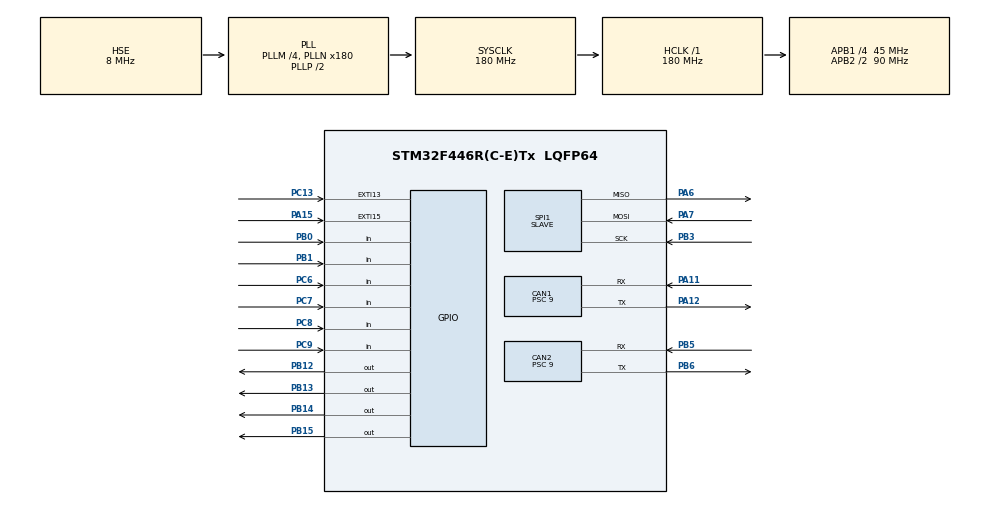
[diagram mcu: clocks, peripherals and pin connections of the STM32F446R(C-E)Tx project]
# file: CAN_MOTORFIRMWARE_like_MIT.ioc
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CAN1.BS1=CAN_BS1_2TQ
CAN1.BS2=CAN_BS2_2TQ
CAN1.CalculateBaudRate=1000000
CAN1.CalculateTimeBit=1000
CAN1.CalculateTimeQuantum=200.0
CAN1.Prescaler=9
CAN2.BS1=CAN_BS1_2TQ
CAN2.BS2=CAN_BS2_2TQ
CAN2.CalculateBaudRate=1000000
CAN2.CalculateTimeBit=1000
CAN2.CalculateTimeQuantum=200.0
CAN2.Prescaler=9
Mcu.Family=STM32F4
Mcu.Name=STM32F446R(C-E)Tx
Mcu.Package=LQFP64
NVIC.CAN1_RX0_IRQn=true\:0\:0\:false\:false\:true\:true\:true\:true
NVIC.CAN2_RX0_IRQn=true\:0\:0\:false\:false\:true\:true\:true\:true
NVIC.CAN2_RX1_IRQn=true\:0\:0\:false\:false\:true\:true\:true\:true
NVIC.EXTI15_10_IRQn=true\:0\:0\:false\:false\:true\:true\:true\:true
NVIC.PriorityGroup=NVIC_PRIORITYGROUP_4
PA11.Mode=CAN_Activate
PA11.Signal=CAN1_RX
PA12.Mode=CAN_Activate
PA12.Signal=CAN1_TX
PA15.GPIO_ModeDefaultEXTI=GPIO_MODE_IT_FALLING
PA15.GPIO_PuPd=GPIO_NOPULL
PA15.Signal=GPXTI15
PA6.Mode=Full_Duplex_Slave
PA6.Signal=SPI1_MISO
PA7.Mode=Full_Duplex_Slave
PA7.Signal=SPI1_MOSI
PB0.Signal=GPIO_Input
PB1.Signal=GPIO_Input
PB12.Signal=GPIO_Output
PB13.Signal=GPIO_Output
PB14.Signal=GPIO_Output
PB15.Signal=GPIO_Output
PB3.Mode=Full_Duplex_Slave
PB3.Signal=SPI1_SCK
PB5.Mode=CAN_Activate
PB5.Signal=CAN2_RX
PB6.Mode=CAN_Activate
PB6.Signal=CAN2_TX
PC13.Signal=GPXTI13
PC6.GPIO_PuPd=GPIO_PULLDOWN
PC6.Signal=GPIO_Input
PC7.GPIO_PuPd=GPIO_PULLDOWN
PC7.Signal=GPIO_Input
PC8.GPIO_PuPd=GPIO_PULLDOWN
PC8.Signal=GPIO_Input
PC9.GPIO_PuPd=GPIO_PULLDOWN
PC9.Signal=GPIO_Input
PH0-OSC_IN.Mode=HSE-External-Oscillator
PH0-OSC_IN.Signal=RCC_OSC_IN
PH1-OSC_OUT.Mode=HSE-External-Oscillator
PH1-OSC_OUT.Signal=RCC_OSC_OUT
ProjectManager.HeapSize=0x200
ProjectManager.StackSize=0x400
ProjectManager.TargetToolchain=STM32CubeIDE
RCC.AHBFreq_Value=180000000
RCC.APB1CLKDivider=RCC_HCLK_DIV4
RCC.APB1Freq_Value=45000000
RCC.APB1TimFreq_Value=90000000
RCC.APB2CLKDivider=RCC_HCLK_DIV2
RCC.APB2Freq_Value=90000000
RCC.APB2TimFreq_Value=180000000
RCC.CortexFreq_Value=180000000
RCC.HCLKFreq_Value=180000000
RCC.HSE_VALUE=8000000
RCC.PLLM=4
RCC.PLLN=180
RCC.PLLSourceVirtual=RCC_PLLSOURCE_HSE
RCC.SYSCLKFreq_VALUE=180000000
RCC.SYSCLKSource=RCC_SYSCLKSOURCE_PLLCLK
RCC.USBFreq_Value=180000000
RCC.VCOOutputFreq_Value=360000000
SPI1.DataSize=SPI_DATASIZE_16BIT
SPI1.Direction=SPI_DIRECTION_2LINES
SPI1.Mode=SPI_MODE_SLAVE
SPI1.VirtualType=VM_SLAVE
TIM1.Period=0xFFFF-1
TIM1.Prescaler=180
TIM8.Prescaler=180
VP_TIM1_VS_ClockSourceINT.Mode=Internal
VP_TIM8_VS_ClockSourceINT.Mode=Internal
board=custom

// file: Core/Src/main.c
/**
  ******************************************************************************
  * @file           : main.c
  * @brief          : Lower-level-Controller firmware
  * Last Updated by : Vishnudev Kurumbaparambil
  * Datum			: 10.02.2025
  * Base Author		: Dave Mangatter
  * Description		: This is the lower level program that runs in STM. This handles the data exchange between the UP board
  * 				  and Robot Leg motors. It contains a SPI and CAN part.
  * License 		: This software component is licensed by ST under BSD 3-Clause license
  ******************************************************************************
  */

/***********************************************************************************************************
*										I N C L U D E S
************************************************************************************************************/
#include "main.h"
#include "stdio.h"
#include "math.h"
#include <stdbool.h>

/***********************************************************************************************************
*										M A C R O S
************************************************************************************************************/

/****************************    RANGES AND LIMITS      **********************/
// Motor range control
#define MOTOR_P_MIN -12.5f
#define MOTOR_P_MAX  12.5f
#define MOTOR_V_MIN -50.0f
#define MOTOR_V_MAX  50.0f
#define MOTOR_T_MIN -65.0f
#define MOTOR_T_MAX  65.0f
#define MOTOR_KP_MIN 0.0f
#define MOTOR_KP_MAX 500.0f
#define MOTOR_KD_MIN 0.0f
#define MOTOR_KD_MAX 5.0f

// Max torque that can be requested from the motor
#define TRQ_REQ_MAX 1.5f

// STM limits for P V T Kd Kp
#define P_MIN -12.5f
#define P_MAX  12.5f
#define V_MIN -26.0f
#define V_MAX  26.0f
#define T_MIN -TRQ_REQ_MAX
#define T_MAX  TRQ_REQ_MAX
#define KP_MIN 0.0f
#define KP_MAX 500.0f
#define KD_MIN 0.0f
#define KD_MAX 5.0f

/// Joint Soft Stops
#define AB_LIM_P 	 1.5708f 	//90°
#define AB_LIM_N 	-1.5708f 	//-90°
#define HIP_LIM_P 	 2.0944f 	//120°
#define HIP_LIM_N 	-2.0944f 	//120°
#define KNEE_LIM_P	 4.01426f 		//-230°
#define KNEE_LIM_N 	-4.01426f  //-0.1f	//5.7° //todo proper limits, consider direction change
#define KP_SOFTSTOP  100.0f
#define KD_SOFTSTOP  0.4f

/****************************    HANDLING DEVIATIONS	**********************/
#define KNEE_GEARRATIO 1.5 //1.25 //todo for testing

/*
 *  STM 2 on Right/Front A[0]A[1]  a[0]a[1]  FR FL
 *  STM 1 on Left /Rear  A[2]A[3]  a[0]a[1]  RR RL
 */

#ifdef STM2_FRONT
	const int ab_mitdirection[2]    = { 1,  1};
	const int hip_mitdirection[2] 	= { 1,  1};
	const int knee_mitdirection[2] 	= { 1,  1};
#endif

#ifdef STM1_BACK
    const int ab_mitdirection[2]    = { 1,  1};
    const int hip_mitdirection[2] 	= { 1,  1};
    const int knee_mitdirection[2] 	= { 1,  1};
#endif

/****************************    DRIVER AND INTERFACES	**********************/
// length of receive/transmit buffers
#define RX_LEN 66
#define TX_LEN 66

// length of outgoing/incoming messages
#define STATE_LEN 30
#define CONTROL_LEN 66

//Can ID
#define Abad_CANID 	1
#define Hip_CANID   2
#define Knee_CANID  3
uint8_t CAN;

CAN_HandleTypeDef hcan1;
CAN_HandleTypeDef hcan2;
CAN_TxHeaderTypeDef TxHeader;
CAN_RxHeaderTypeDef RxHeader;
uint32_t TxMailbox;

SPI_HandleTypeDef hspi1;
DMA_HandleTypeDef hdma_spi1_rx;
DMA_HandleTypeDef hdma_spi1_tx;

TIM_HandleTypeDef htim1;
TIM_HandleTypeDef htim8;

/****************************    STRUCTURES AND VARIABLES	**********************/

typedef struct {
    float ab_p[2],hip_p[2],knee_p[2];
    float ab_v[2],hip_v[2],knee_v[2];
  //float ab_t[2],hip_t[2],knee_t[2];
    uint32_t flags[2],checksum;
}spi_tx;

typedef struct {
    float ab_p[2], hip_p[2], knee_p[2];
    float ab_v[2], hip_v[2], knee_v[2];
    float ab_kp[2],hip_kp[2],knee_kp[2];
    float ab_kd[2],hip_kd[2],knee_kd[2];
    float ab_t[2], hip_t[2], knee_t[2];
    uint32_t flags[2],checksum;
}spi_rx;

typedef struct {
    float ab_t[2],hip_t[2],knee_t[2];
}torque_rx;

//structures
spi_rx 		valuesrec;
spi_rx 		control;
spi_tx 		state;
torque_rx 	torque;

//spi buffer
uint16_t spi_tx_buffer[TX_LEN];
uint16_t spi_rx_buffer[RX_LEN];

// CAN buffer
uint8_t CAN_TxData_buf[8];
uint8_t CAN_RxData_buf[8];

uint32_t 	currentControlMode = 99;
volatile uint32_t 	count_checksumerror = 0;

//State Variables
uint32_t checksum_calc; //to store calculated checksum

//input values
float p_in 	= 0.0f;
float v_in 	= 0.0f;
float kp_in = 2.0f;     //stifness
float kd_in = 0.4f;     //damper
float t_in 	= 0.0f;

//measured values
float p_out = 0.0f;     //position
float v_out = 0.0f;     //velocity
float t_out = 0.0f;     //torque

int receivedCanBus = 2;
int count=2;
int exit_command = 0;

//Time
uint32_t time;
uint32_t time2;

uint32_t Error_spi;
uint32_t CallbackError_spi;
uint32_t State_spi;

void SystemClock_Config(void);
static void MX_GPIO_Init(void);
static void MX_DMA_Init(void);
static void MX_CAN1_Init(void);
static void MX_TIM1_Init(void);
static void MX_SPI1_Init(void);
static void MX_CAN2_Init(void);
static void MX_TIM8_Init(void);

// MOTOR RELATED
void motor_mode(uint8_t ID,CAN_TxHeaderTypeDef*Header,uint8_t*Data);
void exit_mode(uint8_t ID,CAN_TxHeaderTypeDef*Header,uint8_t*Data);
void zero(uint8_t ID,CAN_TxHeaderTypeDef*Header,uint8_t*Data);
void pack_message(uint8_t ID,CAN_TxHeaderTypeDef*Header,uint8_t*Data);
void unpack_replay(uint8_t* Data);

// Communication
void can_send_receive();
void spi_send_receive(void);
uint32_t xor_checksum(uint32_t*, int);
void CAN_Start(void);
void CAN_Exit(void);
void SPI_Exit(void);

int  softstop_joint(float *control,float state, float limit_p, float limit_n);
void safetycheck_reqTrq(float p_act, float v_act, float t_ff);

//Utilities
float uint_to_float(int x_int, float x_min, float x_max, int bits);
int   float_to_uint(float x, float x_min, float x_max, int bits);
void  delay_us(uint16_t us);
uint32_t encode_floats(float a, float b, float c);
int check_nan_in_spi_rx(spi_rx *data);

// CAN Rx Callback
void HAL_CAN_RxFifo0MsgPendingCallback(CAN_HandleTypeDef *hcan)
{
	HAL_CAN_GetRxMessage(hcan, CAN_RX_FIFO0, &RxHeader, CAN_RxData_buf);
	if (RxHeader.DLC == 8)
	{
		receivedCanBus=0;
	}
}
void HAL_CAN_RxFifo1MsgPendingCallback(CAN_HandleTypeDef *hcan)
{
	HAL_CAN_GetRxMessage(hcan, CAN_RX_FIFO1, &RxHeader, CAN_RxData_buf);
	if (RxHeader.DLC == 8)
	{
		receivedCanBus=1;
	}
}

int main(void)
{

	/* MCU Configuration--------------------------------------------------------*/
	/* Reset of all peripherals, Initializes the Flash interface and the Systick. */
	HAL_Init();
	/* Configure the system clock */
	SystemClock_Config();

	//Initialize the spi buffers to avoid junk values
	for(int i = 0; i < TX_LEN ; i++)
		spi_tx_buffer[i] = 0;
	for(int i = 0; i < RX_LEN ; i++)
		spi_rx_buffer[i] = 0;

	/* Initialize all configured peripherals */
	MX_GPIO_Init();
	MX_DMA_Init();
	MX_CAN1_Init();
	MX_TIM1_Init();
	MX_SPI1_Init();
	MX_CAN2_Init();
	MX_TIM8_Init();

	CAN_Start();
	HAL_TIM_Base_Start(&htim1);
	HAL_TIM_Base_Start(&htim8);

	TxHeader.DLC = 8;  // data length
	TxHeader.IDE = CAN_ID_STD;
	TxHeader.RTR = CAN_RTR_DATA;

	printf("start\n");

    // ***** ARM SPI once, in interrupt mode *****
	HAL_SPI_TransmitReceive_IT(&hspi1, (uint8_t *)spi_tx_buffer, (uint8_t *)spi_rx_buffer, RX_LEN);
	//HAL_SPI_TransmitReceive_DMA(&hspi1, (uint8_t *)spi_tx_buffer, (uint8_t *)spi_rx_buffer, RX_LEN);

	// START MOTOR
	motor_mode(Abad_CANID, &TxHeader, CAN_TxData_buf);
	motor_mode(Hip_CANID, &TxHeader, CAN_TxData_buf);
	motor_mode(Knee_CANID, &TxHeader, CAN_TxData_buf);
 	delay_us(1000);

//zero(Abad_CANID, &TxHeader, CAN_TxData_buf);
//zero(Hip_CANID, &TxHeader, CAN_TxData_buf);
//zero(Knee_CANID, &TxHeader, CAN_TxData_buf);
//delay_us(1000);

//
////	 Only CAN
//	count=1;
//	  while (exit_command == 0)
//	  {
//
//
//			can_send_receive();
//			time=__HAL_TIM_GET_COUNTER(&htim8);
//	  }

 	// Loop until exited
	while (exit_command == 0)
	{
		//count = 1 executes the CAN
		if(count==1)
		{
			can_send_receive();
			count=2;
		}

	}//end of while

	// STOP MOTOR
	exit_mode(Abad_CANID, &TxHeader, CAN_TxData_buf);
	exit_mode(Hip_CANID, &TxHeader, CAN_TxData_buf);
	exit_mode(Knee_CANID, &TxHeader, CAN_TxData_buf);

	// Wait before shutting down communication
	delay_us(1000);

	// Exit communication
	CAN_Exit();
	SPI_Exit();

}// end of main

							/***************************************************
							 *  				 S P I
							 ***************************************************/

void spi_send_receive(void)
{
	//Pack the torques into the flag.
	 state.flags[0] = encode_floats(torque.ab_t[0], torque.hip_t[0], torque.knee_t[0]) | (state.flags[0]& 0x03);
	 state.flags[1] = encode_floats(torque.ab_t[1], torque.hip_t[1], torque.knee_t[1]) | (state.flags[1]& 0x03);

	//calculate the checksum
	state.checksum = xor_checksum((uint32_t*)&state,14);

	//pack the status variables into the tx buffer
	for(int i = 0; i < STATE_LEN ; i++)
	{
		spi_tx_buffer[i] = ((uint16_t*)(&state))[i];
	}
}

void HAL_SPI_TxRxCpltCallback(SPI_HandleTypeDef * hspi)
{
	if (hspi->Instance == SPI1 && count == 2)
	{
		uint8_t validData = 1;
		//unpack the received bytes from rx buffer into †he valuesrec structur

		for(int i = 0; i < RX_LEN; i++)
		{
			((uint16_t*) &valuesrec)[i] = spi_rx_buffer[i];

		}

		if (check_nan_in_spi_rx(&valuesrec))
		{
			validData = 0;
		}

		if(validData == 1)
		{
			//if the communication has no issues the values will write in the control structure
			checksum_calc = xor_checksum((uint32_t*)&valuesrec,32);

			//Retrieve the current control Mode stored at higher 16 bits and reset flags to its value
			currentControlMode = (valuesrec.flags[0]>>16);
			valuesrec.flags[0] = (valuesrec.flags[0] & 0xFFFF);
			valuesrec.flags[1] = (valuesrec.flags[1] & 0xFFFF);

			if(valuesrec.checksum == checksum_calc && (valuesrec.flags[0]<=3 || valuesrec.flags[1]<=3))
			{
				for(int i = 0; i < CONTROL_LEN; i++)
				{
					((uint16_t*) &control)[i] = ((uint16_t*) &valuesrec)[i];
				}
			}
			else
			{
				count_checksumerror = count_checksumerror + 1;
			}
		}

		// ***** Now prepare for the NEXT transaction *****
		// 1. Update spi_tx_buffer with fresh data
		spi_send_receive();

		// 2. Re-arm the SPI in interrupt mode
		HAL_SPI_TransmitReceive_IT(&hspi1, (uint8_t *)spi_tx_buffer, (uint8_t *)spi_rx_buffer, RX_LEN);
		//HAL_SPI_TransmitReceive_DMA(&hspi1, (uint8_t *)spi_tx_buffer, (uint8_t *)spi_rx_buffer, RX_LEN);

		//Start CAN
		count = 1;
	}//If it is SPI1
}

void HAL_SPI_ErrorCallback (SPI_HandleTypeDef* hspi){
	CallbackError_spi=HAL_SPI_GetError(&hspi1);

	HAL_SPI_DeInit(&hspi1);
	HAL_SPI_Init(&hspi1);
	HAL_SPI_TransmitReceive_IT(&hspi1, (uint8_t *)spi_tx_buffer, (uint8_t *)spi_rx_buffer, RX_LEN);

	//Start CAN
	count = 1;
}

void SPI_Exit(void) {
    // Disable SPI Interrupts
    HAL_NVIC_DisableIRQ(DMA2_Stream0_IRQn); // If SPI uses DMA Rx
    HAL_NVIC_DisableIRQ(DMA2_Stream3_IRQn); // If SPI uses DMA Tx

    // Abort any ongoing SPI transactions
    HAL_SPI_Abort(&hspi1);

    // Stop SPI DMA if enabled
    if (hspi1.hdmatx) {
        HAL_DMA_Abort(hspi1.hdmatx);
    }
    if (hspi1.hdmarx) {
        HAL_DMA_Abort(hspi1.hdmarx);
    }

    // Disable SPI Peripheral
    HAL_SPI_DeInit(&hspi1);
}

							/***************************************************
							 *  				 C A N
							 ***************************************************/

void CAN_Start(void) {
    // Stop CAN to prevent any ongoing transmissions
    HAL_CAN_Stop(&hcan1);
    HAL_CAN_Stop(&hcan2);

    // Abort any pending transmissions safely using HAL functions
    HAL_CAN_AbortTxRequest(&hcan1, CAN_TX_MAILBOX0);
    HAL_CAN_AbortTxRequest(&hcan1, CAN_TX_MAILBOX1);
    HAL_CAN_AbortTxRequest(&hcan1, CAN_TX_MAILBOX2);

    HAL_CAN_AbortTxRequest(&hcan2, CAN_TX_MAILBOX0);
    HAL_CAN_AbortTxRequest(&hcan2, CAN_TX_MAILBOX1);
    HAL_CAN_AbortTxRequest(&hcan2, CAN_TX_MAILBOX2);

    // Restart CAN
    HAL_CAN_Start(&hcan1);
    HAL_CAN_Start(&hcan2);

    // Reactivate CAN notifications (if used)
    HAL_CAN_ActivateNotification(&hcan1, CAN_IT_RX_FIFO0_MSG_PENDING);
    HAL_CAN_ActivateNotification(&hcan2, CAN_IT_RX_FIFO1_MSG_PENDING);
}

void CAN_Exit(void) {

    // Disable CAN interrupts
    HAL_NVIC_DisableIRQ(CAN1_TX_IRQn);
    HAL_NVIC_DisableIRQ(CAN1_RX0_IRQn);
    HAL_NVIC_DisableIRQ(CAN1_RX1_IRQn);
    HAL_NVIC_DisableIRQ(CAN1_SCE_IRQn);
    HAL_NVIC_DisableIRQ(CAN2_TX_IRQn);
    HAL_NVIC_DisableIRQ(CAN2_RX0_IRQn);
    HAL_NVIC_DisableIRQ(CAN2_RX1_IRQn);
    HAL_NVIC_DisableIRQ(CAN2_SCE_IRQn);

    // Abort any pending CAN transmissions
    HAL_CAN_AbortTxRequest(&hcan1, CAN_TX_MAILBOX0);
    HAL_CAN_AbortTxRequest(&hcan1, CAN_TX_MAILBOX1);
    HAL_CAN_AbortTxRequest(&hcan1, CAN_TX_MAILBOX2);
    HAL_CAN_AbortTxRequest(&hcan2, CAN_TX_MAILBOX0);
    HAL_CAN_AbortTxRequest(&hcan2, CAN_TX_MAILBOX1);
    HAL_CAN_AbortTxRequest(&hcan2, CAN_TX_MAILBOX2);

    // Disable CAN
    HAL_CAN_Stop(&hcan1);
    HAL_CAN_Stop(&hcan2);

	HAL_CAN_DeInit(&hcan1);
	HAL_CAN_DeInit(&hcan2);
}

void can_send_receive(){

	// Reset the flags before each CAN communication
	state.flags[0] = 0;
	state.flags[1] = 0;

	CAN=0;
	pack_message(Abad_CANID, &TxHeader, CAN_TxData_buf);
	HAL_CAN_AddTxMessage(&hcan1, &TxHeader, CAN_TxData_buf, &TxMailbox);
    delay_us(300);
	if (receivedCanBus==0){
		unpack_replay(CAN_RxData_buf);
	}
	pack_message(Hip_CANID, &TxHeader, CAN_TxData_buf);
	HAL_CAN_AddTxMessage(&hcan1, &TxHeader, CAN_TxData_buf, &TxMailbox);
    delay_us(300);
	if (receivedCanBus==0){
		unpack_replay(CAN_RxData_buf);
	}
	pack_message(Knee_CANID, &TxHeader, CAN_TxData_buf);
	HAL_CAN_AddTxMessage(&hcan1, &TxHeader, CAN_TxData_buf, &TxMailbox);
    delay_us(300);
	if (receivedCanBus==0){
		unpack_replay(CAN_RxData_buf);
	}

	CAN=1;
	pack_message(Abad_CANID, &TxHeader, CAN_TxData_buf);
	HAL_CAN_AddTxMessage(&hcan2, &TxHeader, CAN_TxData_buf, &TxMailbox);
    delay_us(300);
	if (receivedCanBus==1){
		unpack_replay(CAN_RxData_buf);
	}
	pack_message(Hip_CANID, &TxHeader, CAN_TxData_buf);
	HAL_CAN_AddTxMessage(&hcan2, &TxHeader, CAN_TxData_buf, &TxMailbox);
    delay_us(300);
	if (receivedCanBus==1){
		unpack_replay(CAN_RxData_buf);
	}
	pack_message(Knee_CANID, &TxHeader, CAN_TxData_buf);
	HAL_CAN_AddTxMessage(&hcan2, &TxHeader, CAN_TxData_buf, &TxMailbox);
    delay_us(300);
	if (receivedCanBus==1){
		unpack_replay(CAN_RxData_buf);
	}

}

/////////////////////////pack and unpack//////////////////////////

void pack_message(uint8_t ID,CAN_TxHeaderTypeDef*Header,uint8_t*Data)
{

	if(ID == Abad_CANID)
	{
		p_in 	= (control.ab_p[CAN] * ab_mitdirection[CAN]);
		v_in 	= (control.ab_v[CAN] * ab_mitdirection[CAN]);
		kp_in 	=  control.ab_kp[CAN];   //stifness
		kd_in 	=  control.ab_kd[CAN];     //damper
		t_in 	= (control.ab_t[CAN] * ab_mitdirection[CAN]);

		if(softstop_joint(&control.ab_p[CAN],state.ab_p[CAN],AB_LIM_P, AB_LIM_N))
		{	//Incase of wrong request
			state.flags[CAN] |= 0b01;
			p_in = p_in * ab_mitdirection[CAN]; // Direction update
//			t_in = t_in * ab_mitdirection[CAN]; // Direction update
		}

		// Safety Limit
		safetycheck_reqTrq(state.ab_p[CAN], state.ab_v[CAN], torque.ab_t[CAN]);
	}
	if(ID == Hip_CANID)
	{
		p_in 	= (control.hip_p[CAN] * hip_mitdirection[CAN]);
		v_in 	= (control.hip_v[CAN] * hip_mitdirection[CAN]);
		kp_in	=  control.hip_kp[CAN];   //stifness
		kd_in	=  control.hip_kd[CAN];     //damper
		t_in	= (control.hip_t[CAN] * hip_mitdirection[CAN]);

		if(softstop_joint(&control.hip_p[CAN],state.hip_p[CAN], HIP_LIM_P, HIP_LIM_N))
		{	//Incase of wrong request
			state.flags[CAN] |= 0b10;
			p_in = p_in * hip_mitdirection[CAN]; // Direction update
//			t_in = t_in * hip_mitdirection[CAN]; // Direction update
		}

		// Safety Limit
		safetycheck_reqTrq(state.hip_p[CAN], state.hip_v[CAN], torque.hip_t[CAN]);
	}
	if(ID == Knee_CANID)
	{
		p_in 	= (control.knee_p[CAN] * knee_mitdirection[CAN]) * KNEE_GEARRATIO;
		v_in 	= (control.knee_v[CAN] * knee_mitdirection[CAN]) / KNEE_GEARRATIO;
		kp_in 	=  control.knee_kp[CAN];   //stifness
		kd_in	=  control.knee_kd[CAN];     //damper
		t_in 	= (control.knee_t[CAN] * knee_mitdirection[CAN]) * KNEE_GEARRATIO;

		if(softstop_joint(&control.knee_p[CAN], state.knee_p[CAN], KNEE_LIM_P, KNEE_LIM_N))
		{	//Incase of wrong request
			state.flags[CAN] |= 0b11;
			p_in = (p_in * knee_mitdirection[CAN]) * KNEE_GEARRATIO; // Direction update
//			t_in = (t_in * knee_mitdirection[CAN]) * KNEE_GEARRATIO; // Direction update
		}

		// Safety Limit
		safetycheck_reqTrq(state.knee_p[CAN], state.knee_v[CAN], torque.knee_t[CAN]);
	}

	Header->StdId = ID;

    /// limit data to be within bounds ///
	float p_des = fminf(fmaxf(P_MIN, p_in), P_MAX);
	float v_des = fminf(fmaxf(V_MIN, v_in), V_MAX);
	float kp = fminf(fmaxf(KP_MIN, kp_in), KP_MAX);
	float kd = fminf(fmaxf(KD_MIN, kd_in), KD_MAX);
	float t_ff = fminf(fmaxf(T_MIN, t_in), T_MAX);

    /// convert floats to unsigned ints ///
    uint16_t p_int = float_to_uint(p_des, MOTOR_P_MIN, MOTOR_P_MAX, 16);
    uint16_t v_int = float_to_uint(v_des, MOTOR_V_MIN, MOTOR_V_MAX, 12);
    uint16_t kp_int = float_to_uint(kp, MOTOR_KP_MIN, MOTOR_KP_MAX, 12);
    uint16_t kd_int = float_to_uint(kd, MOTOR_KD_MIN, MOTOR_KD_MAX, 12);
    uint16_t t_int = float_to_uint(t_ff, MOTOR_T_MIN, MOTOR_T_MAX, 12);

    /// pack ints into the can buffer ///
    Data[0] = p_int>>8;
    Data[1] = p_int&0xFF;
    Data[2] = v_int>>4;
    Data[3] = ((v_int&0xF)<<4)|(kp_int>>8);
    Data[4] = kp_int&0xFF;
    Data[5] = kd_int>>4;
    Data[6] = ((kd_int&0xF)<<4)|(t_int>>8);
    Data[7] = t_int&0xff;

}

void unpack_replay(uint8_t*Data){
	/// unpack ints from can buffer ///

	uint16_t id = Data[0];
	uint16_t p_int = (Data[1]<<8)|Data[2];
	uint16_t v_int = (Data[3]<<4)|(Data[4]>>4);
	uint16_t i_int = ((Data[4]&0xF)<<8)|Data[5];
	/// convert uints to floats ///
	p_out = uint_to_float(p_int, MOTOR_P_MIN, MOTOR_P_MAX, 16);
	v_out = uint_to_float(v_int, MOTOR_V_MIN, MOTOR_V_MAX, 12);
	t_out = uint_to_float(i_int, MOTOR_T_MIN, MOTOR_T_MAX, 12);

	if(id == Abad_CANID)
	{
		state.ab_p[receivedCanBus]=  (p_out * ab_mitdirection[receivedCanBus]);
		state.ab_v[receivedCanBus]=  (v_out * ab_mitdirection[receivedCanBus]);
		torque.ab_t[receivedCanBus]= (t_out * ab_mitdirection[receivedCanBus]);
	}
	if(id == Hip_CANID)
	{
		state.hip_p[receivedCanBus]=  (p_out * hip_mitdirection[receivedCanBus]);
		state.hip_v[receivedCanBus]=  (v_out * hip_mitdirection[receivedCanBus]);
		torque.hip_t[receivedCanBus]= (t_out * hip_mitdirection[receivedCanBus]);
	}
	if(id == Knee_CANID)
	{
		state.knee_p[receivedCanBus]=  (p_out * knee_mitdirection[receivedCanBus])/ KNEE_GEARRATIO;
		state.knee_v[receivedCanBus]=  (v_out * knee_mitdirection[receivedCanBus])* KNEE_GEARRATIO;
		torque.knee_t[receivedCanBus]= (t_out * knee_mitdirection[receivedCanBus])/ KNEE_GEARRATIO;
    }
}

////////////////////////softstop//////////////////////////////////
//actuator only can move to a limit position

int softstop_joint(float *control,float state, float limit_p, float limit_n)
{
	if(*control>limit_p)
	{
		//*control = limit_p;
		p_in = limit_p;
//		v_in = 0.0f;
//		kp_in = 0.0f;
//		kd_in = KD_SOFTSTOP;
//		t_in += KP_SOFTSTOP*(limit_p - state);
		return 1;
	}
	if(*control<limit_n)
	{
		//*control = limit_n;
		p_in = limit_n;
//		v_in = 0.0f;
//		kp_in = 0.0f;
//		kd_in = KD_SOFTSTOP;
//		t_in += KP_SOFTSTOP*(limit_n - state);
		return 1;
	}

  return 0;
}

////////////////////////safetycheck_reqTrq//////////////////////////////////
//To add additional check on the torque requested to the motor. Calculated based on the PID model of motor.
void safetycheck_reqTrq(float p_act, float v_act, float t_ff)
{
			 //𝜏 = 𝜏ff   + 𝐾𝑝(𝑞des − 𝑞) + 𝐾𝑑(𝑞_des − 𝑞_) (2.2) Software and Control Design for the MIT Cheetah Quadruped Robots by Jared Di Carlo
	float trqreq = t_in + kp_in*(p_in - p_act) + kd_in*(v_in - v_act);

	// Incase the Trq to be calculated at the motor is too high, cancel the req by setting Kp, Kd to zero
	if (trqreq >= TRQ_REQ_MAX || trqreq <= -TRQ_REQ_MAX)
	{
		//Only reset kp, kd. Let other signals remain same. Trq will be limited in the next check
		kp_in = 0.0f;
		kd_in = 0.0f;
	}

	// Limit `t_in` to max/min allowed torque
	if (t_in > TRQ_REQ_MAX)
	{
		t_in = TRQ_REQ_MAX;
	} else if (t_in < -TRQ_REQ_MAX)
	{
		t_in = -TRQ_REQ_MAX;
	}
}

									/***************************************************
									 *  		M O T O R    M O D E S
									 ***************************************************/

//Start motor
void motor_mode(uint8_t ID,CAN_TxHeaderTypeDef*Header,uint8_t*Data){
	Header->StdId = ID;
	Data[0] = 0xFF;
	Data[1] = 0xFF;
	Data[2] = 0xFF;
	Data[3] = 0xFF;
	Data[4] = 0xFF;
	Data[5] = 0xFF;
	Data[6] = 0xFF;
	Data[7] = 0xFC;
	HAL_CAN_AddTxMessage(&hcan1, &TxHeader, Data, &TxMailbox);
	HAL_CAN_AddTxMessage(&hcan2, &TxHeader, Data, &TxMailbox);
	delay_us(300);
}

//stop motor
void exit_mode(uint8_t ID,CAN_TxHeaderTypeDef*Header,uint8_t*Data){
	Header->StdId = ID;
	Data[0] = 0xFF;
	Data[1] = 0xFF;
	Data[2] = 0xFF;
	Data[3] = 0xFF;
	Data[4] = 0xFF;
	Data[5] = 0xFF;
	Data[6] = 0xFF;
	Data[7] = 0xFD;
	HAL_CAN_AddTxMessage(&hcan1, &TxHeader, Data, &TxMailbox);
	HAL_CAN_AddTxMessage(&hcan2, &TxHeader, Data, &TxMailbox);
	delay_us(300);
}

//set motorposition to zero
void zero(uint8_t ID,CAN_TxHeaderTypeDef*Header,uint8_t*Data){
	Header->StdId = ID;
	Data[0] = 0xFF;
	Data[1] = 0xFF;
	Data[2] = 0xFF;
	Data[3] = 0xFF;
	Data[4] = 0xFF;
	Data[5] = 0xFF;
	Data[6] = 0xFF;
	Data[7] = 0xFE;
	HAL_CAN_AddTxMessage(&hcan1, &TxHeader, Data, &TxMailbox);
	HAL_CAN_AddTxMessage(&hcan2, &TxHeader, Data, &TxMailbox);
	delay_us(300);
}

									/***************************************************
									 *  		 U T I L I T I E S
									 ***************************************************/

//math
int float_to_uint(float x, float x_min, float x_max, int bits)
{
    /// Converts a float to an unsigned int, given range and number of bits ///
    float span = x_max - x_min;
    float offset = x_min;
    return (int) ((x-offset)*((float)((1<<bits)-1))/span);
}

float uint_to_float(int x_int, float x_min, float x_max, int bits)
{
    /// converts unsigned int to float, given range and number of bits ///
    float span = x_max - x_min;
    float offset = x_min;
    return ((float)x_int)*span/((float)((1<<bits)-1)) + offset;
}

//delay
void delay_us (uint16_t us)
{
	__HAL_TIM_SET_COUNTER(&htim1,0);  // set the counter value a 0
	while ((uint16_t)__HAL_TIM_GET_COUNTER(&htim1) < us);
}

//spi checksum
uint32_t xor_checksum(uint32_t* data, int len)
{
    uint32_t t = 0;
    for(int i = 0; i < len; i++)
        t = t ^ data[i];
    return t;
}

/*
 * This funciton encodes the torque value into high 30 bits of a 32bit variable.
 * This is used to encode torque into flag for logging it in UP
 */
uint32_t encode_floats(float a, float b, float c)
{
    uint32_t encoded = 0;

    // Clamp each value to the range [-70, 70] using conditional statements
    if (a < -70.0f) a = -70.0f;
    if (a > 70.0f) a = 70.0f;

    if (b < -70.0f) b = -70.0f;
    if (b > 70.0f) b = 70.0f;

    if (c < -70.0f) c = -70.0f;
    if (c > 70.0f) c = 70.0f;

    // Normalize and encode each float to 10 bits
    uint16_t a_enc = (uint16_t)round((a + 70) * (1023.0 / 140.0));
    uint16_t b_enc = (uint16_t)round((b + 70) * (1023.0 / 140.0));
    uint16_t c_enc = (uint16_t)round((c + 70) * (1023.0 / 140.0));

    // Pack into 32 bits, leaving the first 2 bits unused
    encoded |= (a_enc & 0x3FF) << 2;        // First 10 bits start at bit 2
    encoded |= (b_enc & 0x3FF) << 12;       // Next 10 bits start at bit 12
    encoded |= (c_enc & 0x3FF) << 22;       // Last 10 bits start at bit 22

    return encoded;
}

int check_nan_in_spi_rx(spi_rx *data)
{

    float *values_ptr = (float *)data;  // Treat struct as float array
    int num_floats = (sizeof(spi_rx) - sizeof(data->flags) - sizeof(data->checksum)) / sizeof(float);

    for (int i = 0; i < num_floats; i++)
    {
        if (isnan(values_ptr[i]))
        {
            // printf("ERROR: NaN detected at index %d! Value: %.9g\n", i, values_ptr[i]);
            return 1;  // Return error if NaN is found
        }
    }
    return 0;  // No NaN detected
}

//Printfunction
int _write(int file, char *ptr, int len)
{
	int DataIdx;

	for (DataIdx = 0; DataIdx < len; DataIdx++)
	{
		//__io_putchar(*ptr++);
		ITM_SendChar(*ptr++);
	}
	return len;
}

										/***************************************************
										*  				H A L    B A S I C S
										***************************************************/

void SystemClock_Config(void)
{
  RCC_OscInitTypeDef RCC_OscInitStruct = {0};
  RCC_ClkInitTypeDef RCC_ClkInitStruct = {0};

  /** Configure the main internal regulator output voltage
  */
  __HAL_RCC_PWR_CLK_ENABLE();
  __HAL_PWR_VOLTAGESCALING_CONFIG(PWR_REGULATOR_VOLTAGE_SCALE1);

  /** Initializes the RCC Oscillators according to the specified parameters
  * in the RCC_OscInitTypeDef structure.
  */
  RCC_OscInitStruct.OscillatorType = RCC_OSCILLATORTYPE_HSE;
  RCC_OscInitStruct.HSEState = RCC_HSE_ON;
  RCC_OscInitStruct.PLL.PLLState = RCC_PLL_ON;
  RCC_OscInitStruct.PLL.PLLSource = RCC_PLLSOURCE_HSE;
  RCC_OscInitStruct.PLL.PLLM = 4;
  RCC_OscInitStruct.PLL.PLLN = 180;
  RCC_OscInitStruct.PLL.PLLP = RCC_PLLP_DIV2;
  RCC_OscInitStruct.PLL.PLLQ = 2;
  RCC_OscInitStruct.PLL.PLLR = 2;
  if (HAL_RCC_OscConfig(&RCC_OscInitStruct) != HAL_OK)
  {
    Error_Handler();
  }

  /** Activate the Over-Drive mode
  */
  if (HAL_PWREx_EnableOverDrive() != HAL_OK)
  {
    Error_Handler();
  }

  /** Initializes the CPU, AHB and APB buses clocks
  */
  RCC_ClkInitStruct.ClockType = RCC_CLOCKTYPE_HCLK|RCC_CLOCKTYPE_SYSCLK
                              |RCC_CLOCKTYPE_PCLK1|RCC_CLOCKTYPE_PCLK2;
  RCC_ClkInitStruct.SYSCLKSource = RCC_SYSCLKSOURCE_PLLCLK;
  RCC_ClkInitStruct.AHBCLKDivider = RCC_SYSCLK_DIV1;
  RCC_ClkInitStruct.APB1CLKDivider = RCC_HCLK_DIV4;
  RCC_ClkInitStruct.APB2CLKDivider = RCC_HCLK_DIV2;

  if (HAL_RCC_ClockConfig(&RCC_ClkInitStruct, FLASH_LATENCY_5) != HAL_OK)
  {
    Error_Handler();
  }
}

static void MX_CAN1_Init(void)
{

  hcan1.Instance = CAN1;
  hcan1.Init.Prescaler = 9;
  hcan1.Init.Mode = CAN_MODE_NORMAL;
  hcan1.Init.SyncJumpWidth = CAN_SJW_1TQ;
  hcan1.Init.TimeSeg1 = CAN_BS1_2TQ;
  hcan1.Init.TimeSeg2 = CAN_BS2_2TQ;
  hcan1.Init.TimeTriggeredMode = DISABLE;
  hcan1.Init.AutoBusOff = DISABLE;
  hcan1.Init.AutoWakeUp = DISABLE;
  hcan1.Init.AutoRetransmission = DISABLE;
  hcan1.Init.ReceiveFifoLocked = DISABLE;
  hcan1.Init.TransmitFifoPriority = DISABLE;
  if (HAL_CAN_Init(&hcan1) != HAL_OK)
  {
    Error_Handler();
  }
  /* USER CODE BEGIN CAN1_Init 2 */

  CAN_FilterTypeDef canfilterconfig;

  canfilterconfig.FilterActivation = CAN_FILTER_ENABLE;
  canfilterconfig.FilterBank = 0;  // which filter bank to use from the assigned ones 18
  canfilterconfig.FilterFIFOAssignment = CAN_FILTER_FIFO0;
  canfilterconfig.FilterIdHigh = 0x0000;
  canfilterconfig.FilterIdLow = 0;
  canfilterconfig.FilterMaskIdHigh = 0xFFFF;
  canfilterconfig.FilterMaskIdLow = 0xFFFC;
  canfilterconfig.FilterMode = CAN_FILTERMODE_IDMASK;
  canfilterconfig.FilterScale = CAN_FILTERSCALE_32BIT;
  canfilterconfig.SlaveStartFilterBank = 14;  // how many filters to assign to the CAN1 (master can) 20

  HAL_CAN_ConfigFilter(&hcan1, &canfilterconfig);

  /* USER CODE END CAN1_Init 2 */

}

static void MX_CAN2_Init(void)
{

  hcan2.Instance = CAN2;
  hcan2.Init.Prescaler = 9;
  hcan2.Init.Mode = CAN_MODE_NORMAL;
  hcan2.Init.SyncJumpWidth = CAN_SJW_1TQ;
  hcan2.Init.TimeSeg1 = CAN_BS1_2TQ;
  hcan2.Init.TimeSeg2 = CAN_BS2_2TQ;
  hcan2.Init.TimeTriggeredMode = DISABLE;
  hcan2.Init.AutoBusOff = DISABLE;
  hcan2.Init.AutoWakeUp = DISABLE;
  hcan2.Init.AutoRetransmission = DISABLE;
  hcan2.Init.ReceiveFifoLocked = DISABLE;
  hcan2.Init.TransmitFifoPriority = DISABLE;
  if (HAL_CAN_Init(&hcan2) != HAL_OK)
  {
    Error_Handler();
  }
  /* USER CODE BEGIN CAN2_Init 2 */

  CAN_FilterTypeDef canfilterconfig2;

  canfilterconfig2.FilterActivation = CAN_FILTER_ENABLE;
  canfilterconfig2.FilterBank = 15;  // which filter bank to use from the assigned ones
  canfilterconfig2.FilterFIFOAssignment = CAN_FILTER_FIFO1;
  canfilterconfig2.FilterIdHigh = 0x0000;
  canfilterconfig2.FilterIdLow = 0;
  canfilterconfig2.FilterMaskIdHigh = 0xFFFF;
  canfilterconfig2.FilterMaskIdLow = 0xFFFC;
  canfilterconfig2.FilterMode = CAN_FILTERMODE_IDMASK;
  canfilterconfig2.FilterScale = CAN_FILTERSCALE_32BIT;
  canfilterconfig2.SlaveStartFilterBank = 14;  // how many filters to assign to the CAN1 (master can)

  HAL_CAN_ConfigFilter(&hcan2, &canfilterconfig2);

  /* USER CODE END CAN2_Init 2 */

}

static void MX_SPI1_Init(void)
{

  /* SPI1 parameter configuration*/
  hspi1.Instance = SPI1;
  hspi1.Init.Mode = SPI_MODE_SLAVE;
  hspi1.Init.Direction = SPI_DIRECTION_2LINES;
  hspi1.Init.DataSize = SPI_DATASIZE_16BIT;
  hspi1.Init.CLKPolarity = SPI_POLARITY_LOW;
  hspi1.Init.CLKPhase = SPI_PHASE_1EDGE;
  hspi1.Init.NSS = SPI_NSS_HARD_INPUT;
  hspi1.Init.FirstBit = SPI_FIRSTBIT_MSB;
  hspi1.Init.TIMode = SPI_TIMODE_DISABLE;
  hspi1.Init.CRCCalculation = SPI_CRCCALCULATION_DISABLE;
  hspi1.Init.CRCPolynomial = 10;
  if (HAL_SPI_Init(&hspi1) != HAL_OK)
  {
    Error_Handler();
  }

}

static void MX_TIM1_Init(void)
{

  TIM_ClockConfigTypeDef sClockSourceConfig = {0};
  TIM_MasterConfigTypeDef sMasterConfig = {0};

  htim1.Instance = TIM1;
  htim1.Init.Prescaler = 180;
  htim1.Init.CounterMode = TIM_COUNTERMODE_UP;
  htim1.Init.Period = 0xFFFF-1;
  htim1.Init.ClockDivision = TIM_CLOCKDIVISION_DIV1;
  htim1.Init.RepetitionCounter = 0;
  htim1.Init.AutoReloadPreload = TIM_AUTORELOAD_PRELOAD_DISABLE;
  if (HAL_TIM_Base_Init(&htim1) != HAL_OK)
  {
    Error_Handler();
  }
  sClockSourceConfig.ClockSource = TIM_CLOCKSOURCE_INTERNAL;
  if (HAL_TIM_ConfigClockSource(&htim1, &sClockSourceConfig) != HAL_OK)
  {
    Error_Handler();
  }
  sMasterConfig.MasterOutputTrigger = TIM_TRGO_RESET;
  sMasterConfig.MasterSlaveMode = TIM_MASTERSLAVEMODE_DISABLE;
  if (HAL_TIMEx_MasterConfigSynchronization(&htim1, &sMasterConfig) != HAL_OK)
  {
    Error_Handler();
  }

}

static void MX_TIM8_Init(void)
{

  TIM_ClockConfigTypeDef sClockSourceConfig = {0};
  TIM_MasterConfigTypeDef sMasterConfig = {0};

  htim8.Instance = TIM8;
  htim8.Init.Prescaler = 180;
  htim8.Init.CounterMode = TIM_COUNTERMODE_UP;
  htim8.Init.Period = 65535;
  htim8.Init.ClockDivision = TIM_CLOCKDIVISION_DIV1;
  htim8.Init.RepetitionCounter = 0;
  htim8.Init.AutoReloadPreload = TIM_AUTORELOAD_PRELOAD_DISABLE;
  if (HAL_TIM_Base_Init(&htim8) != HAL_OK)
  {
    Error_Handler();
  }
  sClockSourceConfig.ClockSource = TIM_CLOCKSOURCE_INTERNAL;
  if (HAL_TIM_ConfigClockSource(&htim8, &sClockSourceConfig) != HAL_OK)
  {
    Error_Handler();
  }
  sMasterConfig.MasterOutputTrigger = TIM_TRGO_RESET;
  sMasterConfig.MasterSlaveMode = TIM_MASTERSLAVEMODE_DISABLE;
  if (HAL_TIMEx_MasterConfigSynchronization(&htim8, &sMasterConfig) != HAL_OK)
  {
    Error_Handler();
  }

}

static void MX_DMA_Init(void)
{

  /* DMA controller clock enable */
  __HAL_RCC_DMA2_CLK_ENABLE();

  /* DMA interrupt init */
  /* DMA2_Stream0_IRQn interrupt configuration */
  HAL_NVIC_SetPriority(DMA2_Stream0_IRQn, 0, 0);
  HAL_NVIC_EnableIRQ(DMA2_Stream0_IRQn);
  /* DMA2_Stream3_IRQn interrupt configuration */
  HAL_NVIC_SetPriority(DMA2_Stream3_IRQn, 0, 0);
  HAL_NVIC_EnableIRQ(DMA2_Stream3_IRQn);

}

static void MX_GPIO_Init(void)
{
  GPIO_InitTypeDef GPIO_InitStruct = {0};

  /* GPIO Ports Clock Enable */
  __HAL_RCC_GPIOC_CLK_ENABLE();
  __HAL_RCC_GPIOH_CLK_ENABLE();
  __HAL_RCC_GPIOA_CLK_ENABLE();
  __HAL_RCC_GPIOB_CLK_ENABLE();

  /*Configure GPIO pin Output Level */
  HAL_GPIO_WritePin(GPIOB, GPIO_PIN_12|GPIO_PIN_13|GPIO_PIN_14|GPIO_PIN_15, GPIO_PIN_RESET);

  /*Configure GPIO pin : PC13 */
  GPIO_InitStruct.Pin = GPIO_PIN_13;
  GPIO_InitStruct.Mode = GPIO_MODE_IT_RISING;
  GPIO_InitStruct.Pull = GPIO_NOPULL;
  HAL_GPIO_Init(GPIOC, &GPIO_InitStruct);

  /*Configure GPIO pins : PB0 PB1 */
  GPIO_InitStruct.Pin = GPIO_PIN_0|GPIO_PIN_1;
  GPIO_InitStruct.Mode = GPIO_MODE_INPUT;
  GPIO_InitStruct.Pull = GPIO_NOPULL;
  HAL_GPIO_Init(GPIOB, &GPIO_InitStruct);

  /*Configure GPIO pins : PB12 PB13 PB14 PB15 */
  GPIO_InitStruct.Pin = GPIO_PIN_12|GPIO_PIN_13|GPIO_PIN_14|GPIO_PIN_15;
  GPIO_InitStruct.Mode = GPIO_MODE_OUTPUT_PP;
  GPIO_InitStruct.Pull = GPIO_NOPULL;
  GPIO_InitStruct.Speed = GPIO_SPEED_FREQ_LOW;
  HAL_GPIO_Init(GPIOB, &GPIO_InitStruct);

  /*Configure GPIO pins : PC6 PC7 PC8 PC9 */
  GPIO_InitStruct.Pin = GPIO_PIN_6|GPIO_PIN_7|GPIO_PIN_8|GPIO_PIN_9;
  GPIO_InitStruct.Mode = GPIO_MODE_INPUT;
  GPIO_InitStruct.Pull = GPIO_PULLDOWN;
  HAL_GPIO_Init(GPIOC, &GPIO_InitStruct);

  /*Configure PA15 for SPI1_NSS in Alternate Function mode */
  GPIO_InitStruct.Pin       = GPIO_PIN_15;
  GPIO_InitStruct.Mode      = GPIO_MODE_AF_PP;     // Or AF_OD if required, usually AF_PP is correct
  GPIO_InitStruct.Pull      = GPIO_NOPULL;         // Typically no pull for NSS
  GPIO_InitStruct.Speed     = GPIO_SPEED_FREQ_LOW; // Speed not critical for NSS
  GPIO_InitStruct.Alternate = GPIO_AF5_SPI1;       // On STM32F446, AF5 is SPI1_NSS
  HAL_GPIO_Init(GPIOA, &GPIO_InitStruct);

//  /* EXTI interrupt init > Vishnu : Now this interrupt is not required as NSS hanldes the SPI enable/disable*/
//  HAL_NVIC_SetPriority(EXTI15_10_IRQn, 0, 0);
//  HAL_NVIC_EnableIRQ(EXTI15_10_IRQn);

}

void Error_Handler(void)
{
    CAN_Exit();  // Clean up CAN and SPI before entering infinite loop
	SPI_Exit();
  __disable_irq();
  while (1)
  {
  }
}
